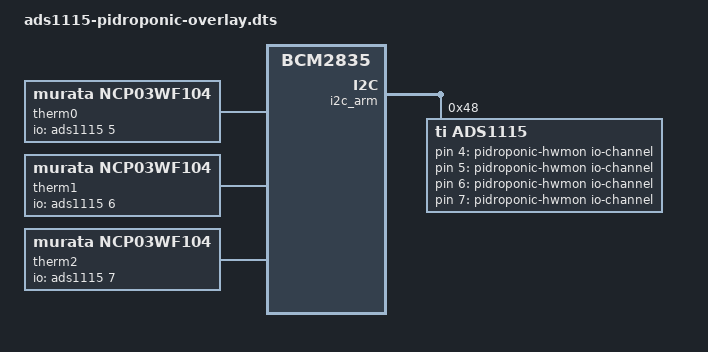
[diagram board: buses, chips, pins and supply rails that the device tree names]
/*
 * TI ADS1115 multi-channel ADC overlay
 * Configured for hwmon exposure plus NTC thermistors configured on the upper three channels.
 */

/dts-v1/;
/plugin/;

/ {
	compatible = "brcm,bcm2835";

	fragment@0 {
		target = <&i2c_arm>;
		__overlay__ {
			#address-cells = <1>;
			#size-cells = <0>;
			status = "okay";

			ads1115: pidroponic-adc {
				compatible = "ti,ads1115";
				status = "okay";
				#address-cells = <1>;
				#size-cells = <0>;
				#io-channel-cells = <1>;
				reg = <0x48>;
				
				/*
				 * Channel A (IN0) Configured for Atlas Scientific analog PH.
				 */
				channel_a: channel_a {
					reg = <4>;
					ti,gain = <1>;
					ti,datarate = <4>;
				};

				/*
				 * Channels B, C, D configured for 100k NTC Thermistors
				 */
				channel_b: channel_b {
					reg = <5>;
					ti,gain = <1>;
					ti,datarate = <4>;
				};
	
				channel_c: channel_c {
					reg = <6>;
					ti,gain = <1>;
					ti,datarate = <4>;
				};
	
				channel_d: channel_d {
					reg = <7>;
					ti,gain = <1>;
					ti,datarate = <4>;
				};
			};
		};
	};

	
	fragment@1 {
		target-path = "/";
		__overlay__ {
		    /* The ads1x15 driver exports all 8 channels, but we only want to pay attention to these */
			pidroponic-hwmon {
				compatible = "iio-hwmon";
				io-channels = <&ads1115 4>, <&ads1115 5>, <&ads1115 6>, <&ads1115 7>;
			};
		};
	};
	
	/*
	 * Disable channels for iio-hwmon, or the driver complains / fails to load
	 */
	fragment@2 {
		target-path = "/clocks/clock@3";
		__overlay__ {
			#io-channel-cells = <0>;
		};
	};
	
	fragment@3 {
		target = <&dsi1>;
		__overlay__ {
			#io-channel-cells = <0>;
		};
	};
	
	/*
	 * Add the Thermistor definitions
	 */
	fragment@4 {
		target-path = "/";
		__overlay__ {
			therm0: therm@0 {
				compatible = "murata,ncp03wf104";
				pullup-uv = <3300000>;
				pullup-ohm = <3900>;
				pulldown-ohm = <0>;
				io-channels = <&ads1115 5>;
			};
			
			therm1: therm@1 {
				compatible = "murata,ncp03wf104";
				pullup-uv = <3300000>;
				pullup-ohm = <3900>;
				pulldown-ohm = <0>;
				io-channels = <&ads1115 6>;
			};
			
			therm2: therm@2 {
				compatible = "murata,ncp03wf104";
				pullup-uv = <3300000>;
				pullup-ohm = <3900>;
				pulldown-ohm = <0>;
				io-channels = <&ads1115 7>;
			};
		};
	};
	
	__exports__ {
		ads1115;
		therm0;
		therm1;
		therm2;
	};
	
	__overrides__ {
		adc_in0_gain =        <&channel_a>,"ti,gain:0";
		adc_in0_datarate =    <&channel_a>,"ti,datarate:0";
		adc_in1_gain =        <&channel_b>,"ti,gain:0";
		adc_in1_datarate =    <&channel_b>,"ti,datarate:0";
		adc_in2_gain =        <&channel_c>,"ti,gain:0";
		adc_in2_datarate =    <&channel_c>,"ti,datarate:0";
		adc_in3_gain =        <&channel_d>,"ti,gain:0";
		adc_in3_datarate =    <&channel_d>,"ti,datarate:0";
	};
};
